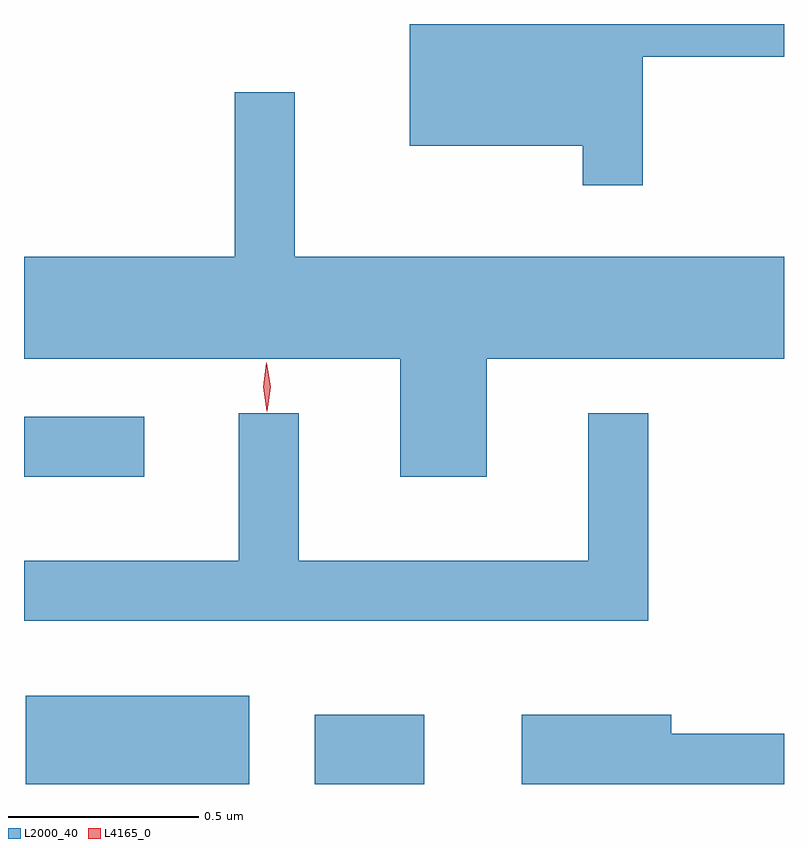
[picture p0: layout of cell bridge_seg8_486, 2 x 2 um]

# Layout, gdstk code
import gdstk
lib = gdstk.Library(unit=1e-6, precision=1e-09)
def R(c, l, rs):  # rectangles x0, y0, x1, y1
    for r in rs: c.add(gdstk.rectangle(r[:2], r[2:], *l))
def P(c, l, *ps):  # polygons
    for p in ps: c.add(gdstk.Polygon(p, *l))
L2000_40 = (2000, 40)
L4165_0 = (4165, 0)

bridge_seg8_486 = lib.new_cell('bridge_seg8_486')
R(bridge_seg8_486, L2000_40, [(465.396,1904.117,465.984,1904.349), (466.156,1904.117,466.444,1904.299), (465.391,1904.926,465.708,1905.084)])
P(bridge_seg8_486, L2000_40, [(467.019,1906.031),(467.391,1906.031),(467.391,1906.117),(466.406,1906.117),(466.406,1905.796),(466.861,1905.796),(466.861,1905.693),(467.019,1905.693)],
  [(466.609,1905.236),(467.391,1905.236),(467.391,1905.504),(466.104,1905.504),(466.104,1905.938),(465.946,1905.938),(465.946,1905.504),(465.391,1905.504),(465.391,1905.236),(466.381,1905.236),(466.381,1904.926),(466.609,1904.926)],
  [(467.034,1905.093),(466.876,1905.093),(466.876,1904.704),(466.114,1904.704),(466.114,1905.093),(465.956,1905.093),(465.956,1904.704),(465.391,1904.704),(465.391,1904.546),(467.034,1904.546)],
  [(467.391,1904.249),(467.094,1904.249),(467.094,1904.299),(466.701,1904.299),(466.701,1904.117),(467.391,1904.117)])
P(bridge_seg8_486, L4165_0, [(466.03,1905.098),(466.02,1905.162),(466.029,1905.225),(466.03,1905.226),(466.03,1905.225),(466.04,1905.162),(466.031,1905.098),(466.031,1905.098)])

lib.write_gds('bridge_seg8_486.gds')
